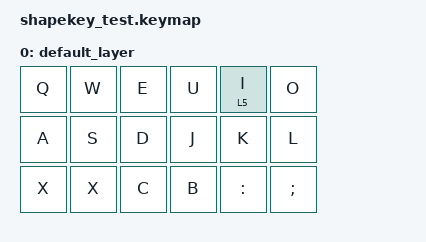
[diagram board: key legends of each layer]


#include <behaviors.dtsi>
#include <dt-bindings/zmk/bt.h>
#include <dt-bindings/zmk/keys.h>
#include <dt-bindings/zmk/mouse.h>

#define MOUSE 6

&mt {
    flavor = "balanced";
    quick-tap-ms = <0>;
};

/ {
    combos {
        compatible = "zmk,combos";

        tab {
            bindings = <&kp TAB>;
            key-positions = <11 12>;
        };

        shift_tab {
            bindings = <&kp LS(TAB)>;
            key-positions = <12 13>;
        };

        muhennkann {
            bindings = <&to_layer_0 INT_MUHENKAN>;
            key-positions = <11 10>;
        };

        double_quotation {
            bindings = <&kp DOUBLE_QUOTES>;
            key-positions = <20 21>;
        };

        eq {
            bindings = <&kp EQUAL>;
            key-positions = <24 25>;
        };
    };
    
        macros {
        to_layer_0: to_layer_0 {
            compatible = "zmk,behavior-macro-one-param";
            #binding-cells = <1>;
            bindings = <&to 0 &macro_param_1to1 &kp MACRO_PLACEHOLDER>;
            label = "TO_LAYER_0";
        };
    };
    
    behaviors {
        lt_to_layer_0: lt_to_layer_0 {
            compatible = "zmk,behavior-hold-tap";
            label = "LAYER_TAP_TO_0";
            bindings = <&mo>, <&to_layer_0>;

            #binding-cells = <2>;
            tapping-term-ms = <200>;
        };
    };



    keymap {
        compatible = "zmk,keymap";

        default_layer {
            bindings = <
        &kp Q             &kp W         &kp E        &kp U          &lt 5 I         &kp O               
        &kp A             &kp S         &kp D        &kp J          &kp K           &kp L               
        &kp X             &kp X         &kp C        &kp B          &kp COLON       &kp SEMICOLON          
            >;

        };
    };

};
